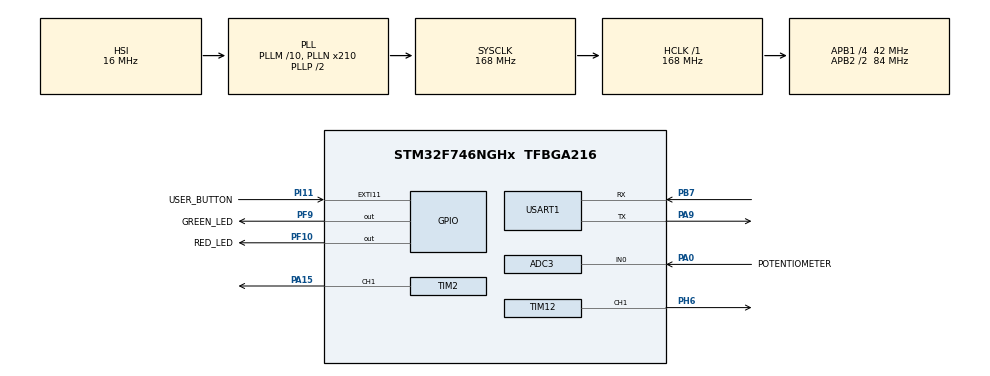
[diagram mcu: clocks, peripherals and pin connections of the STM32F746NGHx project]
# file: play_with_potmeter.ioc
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ADC3.Channel-1\#ChannelRegularConversion=ADC_CHANNEL_0
ADC3.NbrOfConversionFlag=1
ADC3.Rank-1\#ChannelRegularConversion=1
ADC3.SamplingTime-1\#ChannelRegularConversion=ADC_SAMPLETIME_3CYCLES
Mcu.Family=STM32F7
Mcu.Name=STM32F746NGHx
Mcu.Package=TFBGA216
NVIC.EXTI15_10_IRQn=true\:1\:0\:true\:false\:true\:true\:true
NVIC.PriorityGroup=NVIC_PRIORITYGROUP_4
NVIC.TIM5_IRQn=true\:1\:0\:true\:false\:true\:true\:true
NVIC.TIM8_TRG_COM_TIM14_IRQn=true\:0\:0\:false\:false\:true\:false\:true
NVIC.TimeBase=TIM8_TRG_COM_TIM14_IRQn
NVIC.TimeBaseIP=TIM14
PA0/WKUP.GPIO_Label=POTENTIOMETER
PA0/WKUP.Signal=ADCx_IN0
PA13.Mode=Serial_Wire
PA13.Signal=SYS_JTMS-SWDIO
PA14.Mode=Serial_Wire
PA14.Signal=SYS_JTCK-SWCLK
PA15.Signal=S_TIM2_CH1_ETR
PA9.Mode=Asynchronous
PA9.Signal=USART1_TX
PB7.Mode=Asynchronous
PB7.Signal=USART1_RX
PC14/OSC32_IN.Mode=LSE-External-Clock-Source
PC14/OSC32_IN.Signal=RCC_OSC32_IN
PC15/OSC32_OUT.Mode=LSE-External-Clock-Source
PC15/OSC32_OUT.Signal=RCC_OSC32_OUT
PF10.GPIO_Label=RED_LED
PF10.Signal=GPIO_Output
PF9.GPIO_Label=GREEN_LED
PF9.Signal=GPIO_Output
PH0/OSC_IN.Mode=HSE-External-Oscillator
PH0/OSC_IN.Signal=RCC_OSC_IN
PH1/OSC_OUT.Mode=HSE-External-Oscillator
PH1/OSC_OUT.Signal=RCC_OSC_OUT
PH6.Signal=S_TIM12_CH1
PI11.GPIO_Label=USER_BUTTON
PI11.GPIO_PuPd=GPIO_PULLDOWN
PI11.Signal=GPXTI11
ProjectManager.HeapSize=0x200
ProjectManager.StackSize=0x400
ProjectManager.TargetToolchain=STM32CubeIDE
RCC.AHBFreq_Value=168000000
RCC.APB1CLKDivider=RCC_HCLK_DIV4
RCC.APB1Freq_Value=42000000
RCC.APB1TimFreq_Value=84000000
RCC.APB2CLKDivider=RCC_HCLK_DIV2
RCC.APB2Freq_Value=84000000
RCC.APB2TimFreq_Value=168000000
RCC.CortexFreq_Value=168000000
RCC.HCLKFreq_Value=168000000
RCC.HSE_VALUE=25000000
RCC.HSI_VALUE=16000000
RCC.LSE_VALUE=32768
RCC.PLLM=10
RCC.PLLN=210
RCC.PLLSourceVirtual=RCC_PLLSOURCE_HSI
RCC.SYSCLKFreq_VALUE=168000000
RCC.SYSCLKSource=RCC_SYSCLKSOURCE_PLLCLK
RCC.USBFreq_Value=168000000
RCC.VCOOutputFreq_Value=336000000
SH.ADCx_IN0.0=ADC3_IN0,IN0
SH.S_TIM12_CH1.0=TIM12_CH1,PWM Generation1 CH1
SH.S_TIM2_CH1_ETR.0=TIM2_CH1,PWM Generation1 CH1
TIM12.Channel-PWM\ Generation1\ CH1=TIM_CHANNEL_1
TIM12.Period=256 - 1
TIM12.Prescaler=50 - 1
TIM12.Pulse-PWM\ Generation1\ CH1=128 - 1
TIM2.Channel-PWM\ Generation1\ CH1=TIM_CHANNEL_1
TIM2.Period=4000 - 1
TIM2.Prescaler=2100 - 1
TIM2.Pulse-PWM\ Generation1\ CH1=2000 - 1
TIM5.Period=5000 - 1
TIM5.Prescaler=8400 - 1
USART1.VirtualMode-Asynchronous=VM_ASYNC
VP_SYS_VS_tim14.Mode=TIM14
VP_TIM2_VS_ClockSourceINT.Mode=Internal
VP_TIM5_VS_ClockSourceINT.Mode=Internal
board=STM32F746G-DISCO

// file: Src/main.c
/* USER CODE BEGIN Header */
/**
  ******************************************************************************
  * @file           : main.c
  * @brief          : Main program body
  ******************************************************************************
  * @attention
  *
  * <h2><center>&copy; Copyright (c) 2019 STMicroelectronics.
  * All rights reserved.</center></h2>
  *
  * This software component is licensed by ST under BSD 3-Clause license,
  * the "License"; You may not use this file except in compliance with the
  * License. You may obtain a copy of the License at:
  *                        opensource.org/licenses/BSD-3-Clause
  *
  ******************************************************************************
  */
/* USER CODE END Header */

#include "main.h"

/* USER CODE BEGIN PTD */
typedef enum led_state{
	BRIGHTNESS,
	FREQUENCY
}led_state_t;
/* USER CODE END PTD */

ADC_HandleTypeDef hadc3;

TIM_HandleTypeDef htim2;
TIM_HandleTypeDef htim5;
TIM_HandleTypeDef htim12;

UART_HandleTypeDef huart1;

/* USER CODE BEGIN PV */
int pulse = 0;
uint8_t adc_value;
int arr_changer = 0;
led_state_t state = BRIGHTNESS;

/* USER CODE END PV */

void SystemClock_Config(void);
static void MX_GPIO_Init(void);
static void MX_TIM5_Init(void);
static void MX_TIM12_Init(void);
static void MX_USART1_UART_Init(void);
static void MX_ADC3_Init(void);
static void MX_TIM2_Init(void);

/* USER CODE BEGIN 0 */
int __io_putchar(int ch)
{
    HAL_UART_Transmit(&huart1, (uint8_t*)&ch, 1, 0xFFFF);
    return ch;
}
/* USER CODE END 0 */

int main(void)
{

  /* MCU Configuration--------------------------------------------------------*/

  /* Reset of all peripherals, Initializes the Flash interface and the Systick. */
  HAL_Init();

  /* Configure the system clock */
  SystemClock_Config();

  /* Initialize all configured peripherals */
  MX_GPIO_Init();
  MX_TIM5_Init();
  MX_TIM12_Init();
  MX_USART1_UART_Init();
  MX_ADC3_Init();
  MX_TIM2_Init();
  /* USER CODE BEGIN 2 */
HAL_TIM_PWM_Start(&htim12, TIM_CHANNEL_1);
HAL_TIM_PWM_Start(&htim2, TIM_CHANNEL_1);
//HAL_TIM_Base_Start_IT(&htim2);
  /* USER CODE END 2 */

  /* Infinite loop */
  /* USER CODE BEGIN WHILE */
  while (1)
  {

	 // if(state == BRIGHTNESS){

	  //HAL_Delay(500);
	  HAL_ADC_Start(&hadc3);
	  if(HAL_ADC_PollForConversion(&hadc3, 10) == HAL_OK){
		 adc_value = HAL_ADC_GetValue(&hadc3);
		 pulse = adc_value;
	  }
	  __HAL_TIM_SET_COMPARE((&htim12), TIM_CHANNEL_1, pulse);
	  //}else{
	  TIM2->PSC = ((adc_value*(2000-100)/255+100)*21) - 1;

	  //}
    /* USER CODE END WHILE */

  }
}

void SystemClock_Config(void)
{
  RCC_OscInitTypeDef RCC_OscInitStruct = {0};
  RCC_ClkInitTypeDef RCC_ClkInitStruct = {0};
  RCC_PeriphCLKInitTypeDef PeriphClkInitStruct = {0};

  /** Configure the main internal regulator output voltage
  */
  __HAL_RCC_PWR_CLK_ENABLE();
  __HAL_PWR_VOLTAGESCALING_CONFIG(PWR_REGULATOR_VOLTAGE_SCALE2);
  /** Initializes the CPU, AHB and APB busses clocks
  */
  RCC_OscInitStruct.OscillatorType = RCC_OSCILLATORTYPE_HSI;
  RCC_OscInitStruct.HSIState = RCC_HSI_ON;
  RCC_OscInitStruct.HSICalibrationValue = RCC_HSICALIBRATION_DEFAULT;
  RCC_OscInitStruct.PLL.PLLState = RCC_PLL_ON;
  RCC_OscInitStruct.PLL.PLLSource = RCC_PLLSOURCE_HSI;
  RCC_OscInitStruct.PLL.PLLM = 10;
  RCC_OscInitStruct.PLL.PLLN = 210;
  RCC_OscInitStruct.PLL.PLLP = RCC_PLLP_DIV2;
  RCC_OscInitStruct.PLL.PLLQ = 2;
  if (HAL_RCC_OscConfig(&RCC_OscInitStruct) != HAL_OK)
  {
    Error_Handler();
  }
  /** Initializes the CPU, AHB and APB busses clocks
  */
  RCC_ClkInitStruct.ClockType = RCC_CLOCKTYPE_HCLK|RCC_CLOCKTYPE_SYSCLK
                              |RCC_CLOCKTYPE_PCLK1|RCC_CLOCKTYPE_PCLK2;
  RCC_ClkInitStruct.SYSCLKSource = RCC_SYSCLKSOURCE_PLLCLK;
  RCC_ClkInitStruct.AHBCLKDivider = RCC_SYSCLK_DIV1;
  RCC_ClkInitStruct.APB1CLKDivider = RCC_HCLK_DIV4;
  RCC_ClkInitStruct.APB2CLKDivider = RCC_HCLK_DIV2;

  if (HAL_RCC_ClockConfig(&RCC_ClkInitStruct, FLASH_LATENCY_5) != HAL_OK)
  {
    Error_Handler();
  }
  PeriphClkInitStruct.PeriphClockSelection = RCC_PERIPHCLK_USART1;
  PeriphClkInitStruct.Usart1ClockSelection = RCC_USART1CLKSOURCE_PCLK2;
  if (HAL_RCCEx_PeriphCLKConfig(&PeriphClkInitStruct) != HAL_OK)
  {
    Error_Handler();
  }
}

static void MX_ADC3_Init(void)
{

  ADC_ChannelConfTypeDef sConfig = {0};

  /** Configure the global features of the ADC (Clock, Resolution, Data Alignment and number of conversion)
  */
  hadc3.Instance = ADC3;
  hadc3.Init.ClockPrescaler = ADC_CLOCK_SYNC_PCLK_DIV4;
  hadc3.Init.Resolution = ADC_RESOLUTION_12B;
  hadc3.Init.ScanConvMode = ADC_SCAN_DISABLE;
  hadc3.Init.ContinuousConvMode = DISABLE;
  hadc3.Init.DiscontinuousConvMode = DISABLE;
  hadc3.Init.ExternalTrigConvEdge = ADC_EXTERNALTRIGCONVEDGE_NONE;
  hadc3.Init.ExternalTrigConv = ADC_SOFTWARE_START;
  hadc3.Init.DataAlign = ADC_DATAALIGN_RIGHT;
  hadc3.Init.NbrOfConversion = 1;
  hadc3.Init.DMAContinuousRequests = DISABLE;
  hadc3.Init.EOCSelection = ADC_EOC_SINGLE_CONV;
  if (HAL_ADC_Init(&hadc3) != HAL_OK)
  {
    Error_Handler();
  }
  /** Configure for the selected ADC regular channel its corresponding rank in the sequencer and its sample time.
  */
  sConfig.Channel = ADC_CHANNEL_0;
  sConfig.Rank = ADC_REGULAR_RANK_1;
  sConfig.SamplingTime = ADC_SAMPLETIME_3CYCLES;
  if (HAL_ADC_ConfigChannel(&hadc3, &sConfig) != HAL_OK)
  {
    Error_Handler();
  }

}

static void MX_TIM2_Init(void)
{

  TIM_ClockConfigTypeDef sClockSourceConfig = {0};
  TIM_MasterConfigTypeDef sMasterConfig = {0};
  TIM_OC_InitTypeDef sConfigOC = {0};

  htim2.Instance = TIM2;
  htim2.Init.Prescaler = 2100 - 1;
  htim2.Init.CounterMode = TIM_COUNTERMODE_UP;
  htim2.Init.Period = 4000 - 1;
  htim2.Init.ClockDivision = TIM_CLOCKDIVISION_DIV1;
  htim2.Init.AutoReloadPreload = TIM_AUTORELOAD_PRELOAD_DISABLE;
  if (HAL_TIM_Base_Init(&htim2) != HAL_OK)
  {
    Error_Handler();
  }
  sClockSourceConfig.ClockSource = TIM_CLOCKSOURCE_INTERNAL;
  if (HAL_TIM_ConfigClockSource(&htim2, &sClockSourceConfig) != HAL_OK)
  {
    Error_Handler();
  }
  if (HAL_TIM_PWM_Init(&htim2) != HAL_OK)
  {
    Error_Handler();
  }
  sMasterConfig.MasterOutputTrigger = TIM_TRGO_RESET;
  sMasterConfig.MasterSlaveMode = TIM_MASTERSLAVEMODE_DISABLE;
  if (HAL_TIMEx_MasterConfigSynchronization(&htim2, &sMasterConfig) != HAL_OK)
  {
    Error_Handler();
  }
  sConfigOC.OCMode = TIM_OCMODE_PWM1;
  sConfigOC.Pulse = 2000 - 1;
  sConfigOC.OCPolarity = TIM_OCPOLARITY_HIGH;
  sConfigOC.OCFastMode = TIM_OCFAST_DISABLE;
  if (HAL_TIM_PWM_ConfigChannel(&htim2, &sConfigOC, TIM_CHANNEL_1) != HAL_OK)
  {
    Error_Handler();
  }
  HAL_TIM_MspPostInit(&htim2);

}

static void MX_TIM5_Init(void)
{

  TIM_ClockConfigTypeDef sClockSourceConfig = {0};
  TIM_MasterConfigTypeDef sMasterConfig = {0};

  htim5.Instance = TIM5;
  htim5.Init.Prescaler = 8400 - 1;
  htim5.Init.CounterMode = TIM_COUNTERMODE_UP;
  htim5.Init.Period = 5000 - 1;
  htim5.Init.ClockDivision = TIM_CLOCKDIVISION_DIV1;
  htim5.Init.AutoReloadPreload = TIM_AUTORELOAD_PRELOAD_DISABLE;
  if (HAL_TIM_Base_Init(&htim5) != HAL_OK)
  {
    Error_Handler();
  }
  sClockSourceConfig.ClockSource = TIM_CLOCKSOURCE_INTERNAL;
  if (HAL_TIM_ConfigClockSource(&htim5, &sClockSourceConfig) != HAL_OK)
  {
    Error_Handler();
  }
  sMasterConfig.MasterOutputTrigger = TIM_TRGO_RESET;
  sMasterConfig.MasterSlaveMode = TIM_MASTERSLAVEMODE_DISABLE;
  if (HAL_TIMEx_MasterConfigSynchronization(&htim5, &sMasterConfig) != HAL_OK)
  {
    Error_Handler();
  }

}

static void MX_TIM12_Init(void)
{

  TIM_OC_InitTypeDef sConfigOC = {0};

  htim12.Instance = TIM12;
  htim12.Init.Prescaler = 50 - 1;
  htim12.Init.CounterMode = TIM_COUNTERMODE_UP;
  htim12.Init.Period = 256 - 1;
  htim12.Init.ClockDivision = TIM_CLOCKDIVISION_DIV1;
  htim12.Init.AutoReloadPreload = TIM_AUTORELOAD_PRELOAD_DISABLE;
  if (HAL_TIM_PWM_Init(&htim12) != HAL_OK)
  {
    Error_Handler();
  }
  sConfigOC.OCMode = TIM_OCMODE_PWM1;
  sConfigOC.Pulse = 128 - 1;
  sConfigOC.OCPolarity = TIM_OCPOLARITY_HIGH;
  sConfigOC.OCFastMode = TIM_OCFAST_DISABLE;
  if (HAL_TIM_PWM_ConfigChannel(&htim12, &sConfigOC, TIM_CHANNEL_1) != HAL_OK)
  {
    Error_Handler();
  }
  HAL_TIM_MspPostInit(&htim12);

}

static void MX_USART1_UART_Init(void)
{

  huart1.Instance = USART1;
  huart1.Init.BaudRate = 115200;
  huart1.Init.WordLength = UART_WORDLENGTH_8B;
  huart1.Init.StopBits = UART_STOPBITS_1;
  huart1.Init.Parity = UART_PARITY_NONE;
  huart1.Init.Mode = UART_MODE_TX_RX;
  huart1.Init.HwFlowCtl = UART_HWCONTROL_NONE;
  huart1.Init.OverSampling = UART_OVERSAMPLING_16;
  huart1.Init.OneBitSampling = UART_ONE_BIT_SAMPLE_DISABLE;
  huart1.AdvancedInit.AdvFeatureInit = UART_ADVFEATURE_NO_INIT;
  if (HAL_UART_Init(&huart1) != HAL_OK)
  {
    Error_Handler();
  }

}

static void MX_GPIO_Init(void)
{
  GPIO_InitTypeDef GPIO_InitStruct = {0};

  /* GPIO Ports Clock Enable */
  __HAL_RCC_GPIOA_CLK_ENABLE();
  __HAL_RCC_GPIOB_CLK_ENABLE();
  __HAL_RCC_GPIOC_CLK_ENABLE();
  __HAL_RCC_GPIOI_CLK_ENABLE();
  __HAL_RCC_GPIOH_CLK_ENABLE();
  __HAL_RCC_GPIOF_CLK_ENABLE();

  /*Configure GPIO pin Output Level */
  HAL_GPIO_WritePin(GPIOF, RED_LED_Pin|GREEN_LED_Pin, GPIO_PIN_RESET);

  /*Configure GPIO pin : USER_BUTTON_Pin */
  GPIO_InitStruct.Pin = USER_BUTTON_Pin;
  GPIO_InitStruct.Mode = GPIO_MODE_IT_RISING;
  GPIO_InitStruct.Pull = GPIO_PULLDOWN;
  HAL_GPIO_Init(USER_BUTTON_GPIO_Port, &GPIO_InitStruct);

  /*Configure GPIO pins : RED_LED_Pin GREEN_LED_Pin */
  GPIO_InitStruct.Pin = RED_LED_Pin|GREEN_LED_Pin;
  GPIO_InitStruct.Mode = GPIO_MODE_OUTPUT_PP;
  GPIO_InitStruct.Pull = GPIO_NOPULL;
  GPIO_InitStruct.Speed = GPIO_SPEED_FREQ_LOW;
  HAL_GPIO_Init(GPIOF, &GPIO_InitStruct);

  /* EXTI interrupt init*/
  HAL_NVIC_SetPriority(EXTI15_10_IRQn, 1, 0);
  HAL_NVIC_EnableIRQ(EXTI15_10_IRQn);

}

/* USER CODE BEGIN 4 */
void HAL_GPIO_EXTI_Callback(uint16_t GPIO_Pin)
{
    if(state == BRIGHTNESS){
    	state = FREQUENCY;
    }else{
    	state = BRIGHTNESS;
    }
}
/* USER CODE END 4 */

void HAL_TIM_PeriodElapsedCallback(TIM_HandleTypeDef *htim)
{
  /* USER CODE BEGIN Callback 0 */
	if (htim->Instance == TIM2) {
		HAL_GPIO_TogglePin(GREEN_LED_GPIO_Port, GREEN_LED_Pin);

	    arr_changer = (int)1000 - ((float)(900 / (float)256) * adc_value);
	    TIM2->ARR = arr_changer;

	}
  /* USER CODE END Callback 0 */
  if (htim->Instance == TIM14) {
    HAL_IncTick();
  }
}

void Error_Handler(void)
{
}

/************************ (C) COPYRIGHT STMicroelectronics *****END OF FILE****/
